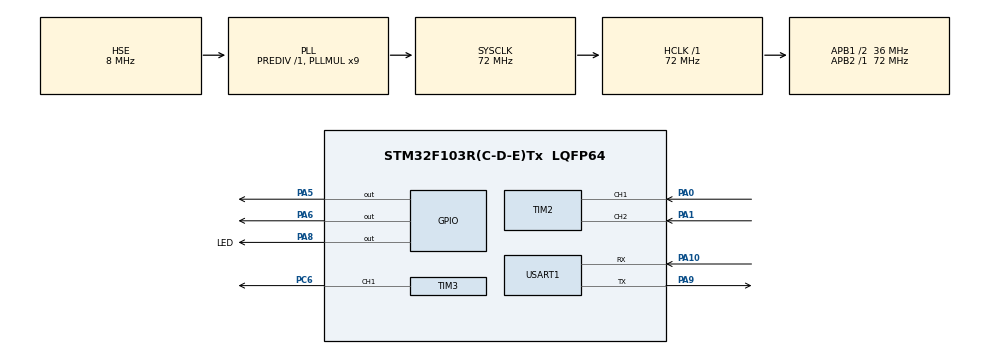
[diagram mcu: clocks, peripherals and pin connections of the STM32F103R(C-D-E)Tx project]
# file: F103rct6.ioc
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Mcu.Family=STM32F1
Mcu.Name=STM32F103R(C-D-E)Tx
Mcu.Package=LQFP64
NVIC.PriorityGroup=NVIC_PRIORITYGROUP_4
PA0-WKUP.Signal=S_TIM2_CH1_ETR
PA1.Signal=S_TIM2_CH2
PA10.Mode=Asynchronous
PA10.Signal=USART1_RX
PA13.Mode=Serial_Wire
PA13.Signal=SYS_JTMS-SWDIO
PA14.Mode=Serial_Wire
PA14.Signal=SYS_JTCK-SWCLK
PA5.Signal=GPIO_Output
PA6.Signal=GPIO_Output
PA8.GPIO_Label=LED
PA8.Signal=GPIO_Output
PA9.Mode=Asynchronous
PA9.Signal=USART1_TX
PC6.Signal=S_TIM3_CH1
PD0-OSC_IN.Mode=HSE-External-Oscillator
PD0-OSC_IN.Signal=RCC_OSC_IN
PD1-OSC_OUT.Mode=HSE-External-Oscillator
PD1-OSC_OUT.Signal=RCC_OSC_OUT
ProjectManager.HeapSize=0x200
ProjectManager.StackSize=0x400
ProjectManager.TargetToolchain=Makefile
RCC.AHBFreq_Value=72000000
RCC.APB1CLKDivider=RCC_HCLK_DIV2
RCC.APB1Freq_Value=36000000
RCC.APB1TimFreq_Value=72000000
RCC.APB2Freq_Value=72000000
RCC.APB2TimFreq_Value=72000000
RCC.HCLKFreq_Value=72000000
RCC.PLLMUL=RCC_PLL_MUL9
RCC.PLLSourceVirtual=RCC_PLLSOURCE_HSE
RCC.SYSCLKFreq_VALUE=72000000
RCC.SYSCLKSource=RCC_SYSCLKSOURCE_PLLCLK
RCC.USBFreq_Value=72000000
SH.S_TIM2_CH1_ETR.0=TIM2_CH1,Encoder_Interface
SH.S_TIM2_CH2.0=TIM2_CH2,Encoder_Interface
SH.S_TIM3_CH1.0=TIM3_CH1,PWM Generation1 CH1
TIM3.AutoReloadPreload=TIM_AUTORELOAD_PRELOAD_ENABLE
TIM3.Channel-PWM\ Generation1\ CH1=TIM_CHANNEL_1
TIM3.Period=999
TIM3.Prescaler=71
USART1.VirtualMode=VM_ASYNC
VP_TIM3_VS_ClockSourceINT.Mode=Internal
board=custom

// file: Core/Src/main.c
/* USER CODE BEGIN Header */
/**
  ******************************************************************************
  * @file           : main.c
  * @brief          : Main program body
  ******************************************************************************
  * @attention
  *
  * Copyright (c) 2024 STMicroelectronics.
  * All rights reserved.
  *
  * This software is licensed under terms that can be found in the LICENSE file
  * in the root directory of this software component.
  * If no LICENSE file comes with this software, it is provided AS-IS.
  *
  ******************************************************************************
  */
/* USER CODE END Header */
#include "main.h"
#include "tim.h"
#include "usart.h"
#include "gpio.h"

/* USER CODE BEGIN Includes */
#include "vofa.h"
#include "encoder.h"
#include "dc_motor.h"

/* USER CODE END Includes */

/* USER CODE BEGIN PV */
Encoder_HandleTypeDef encoder1;
DCMotor_HandleTypeDef motor1;
/* USER CODE END PV */

void SystemClock_Config(void);

int main(void)
{

  /* MCU Configuration--------------------------------------------------------*/

  /* Reset of all peripherals, Initializes the Flash interface and the Systick. */
  HAL_Init();

  /* Configure the system clock */
  SystemClock_Config();

  /* Initialize all configured peripherals */
  MX_GPIO_Init();
  MX_USART1_UART_Init();
  MX_TIM2_Init();
  MX_TIM3_Init();
  /* USER CODE BEGIN 2 */
    encoder1.htim = &htim2;
    encoder1.ppr = 1;
    Encoder_Init(&encoder1);
    motor1.pwm_tim = &htim3;
    motor1.pwm_channel = TIM_CHANNEL_1;
    motor1.in1_port = GPIOA;
    motor1.in1_pin = GPIO_PIN_5;
    motor1.in2_port = GPIOA;
    motor1.in2_pin = GPIO_PIN_6;

    DCMotor_Init(&motor1);
  /* USER CODE END 2 */

  /* Infinite loop */
  while (1)
  {

    /* USER CODE BEGIN 3 */
    DCMotor_SetSpeed(&motor1, 1000);
    vofa_send_data(0, Encoder_GetSpeed(&encoder1, 1));
    // vofa_send_data(1,__HAL_TIM_GET_COUNTER(&htim2));
    vofa_sendframetail();
    HAL_Delay(100);
  }
  /* USER CODE END 3 */
}

void SystemClock_Config(void)
{
  RCC_OscInitTypeDef RCC_OscInitStruct = {0};
  RCC_ClkInitTypeDef RCC_ClkInitStruct = {0};

  /** Initializes the RCC Oscillators according to the specified parameters
  * in the RCC_OscInitTypeDef structure.
  */
  RCC_OscInitStruct.OscillatorType = RCC_OSCILLATORTYPE_HSE;
  RCC_OscInitStruct.HSEState = RCC_HSE_ON;
  RCC_OscInitStruct.HSEPredivValue = RCC_HSE_PREDIV_DIV1;
  RCC_OscInitStruct.HSIState = RCC_HSI_ON;
  RCC_OscInitStruct.PLL.PLLState = RCC_PLL_ON;
  RCC_OscInitStruct.PLL.PLLSource = RCC_PLLSOURCE_HSE;
  RCC_OscInitStruct.PLL.PLLMUL = RCC_PLL_MUL9;
  if (HAL_RCC_OscConfig(&RCC_OscInitStruct) != HAL_OK)
  {
    Error_Handler();
  }

  /** Initializes the CPU, AHB and APB buses clocks
  */
  RCC_ClkInitStruct.ClockType = RCC_CLOCKTYPE_HCLK|RCC_CLOCKTYPE_SYSCLK
                              |RCC_CLOCKTYPE_PCLK1|RCC_CLOCKTYPE_PCLK2;
  RCC_ClkInitStruct.SYSCLKSource = RCC_SYSCLKSOURCE_PLLCLK;
  RCC_ClkInitStruct.AHBCLKDivider = RCC_SYSCLK_DIV1;
  RCC_ClkInitStruct.APB1CLKDivider = RCC_HCLK_DIV2;
  RCC_ClkInitStruct.APB2CLKDivider = RCC_HCLK_DIV1;

  if (HAL_RCC_ClockConfig(&RCC_ClkInitStruct, FLASH_LATENCY_2) != HAL_OK)
  {
    Error_Handler();
  }
}

void Error_Handler(void)
{
  __disable_irq();
  while (1)
  {
  }
}
